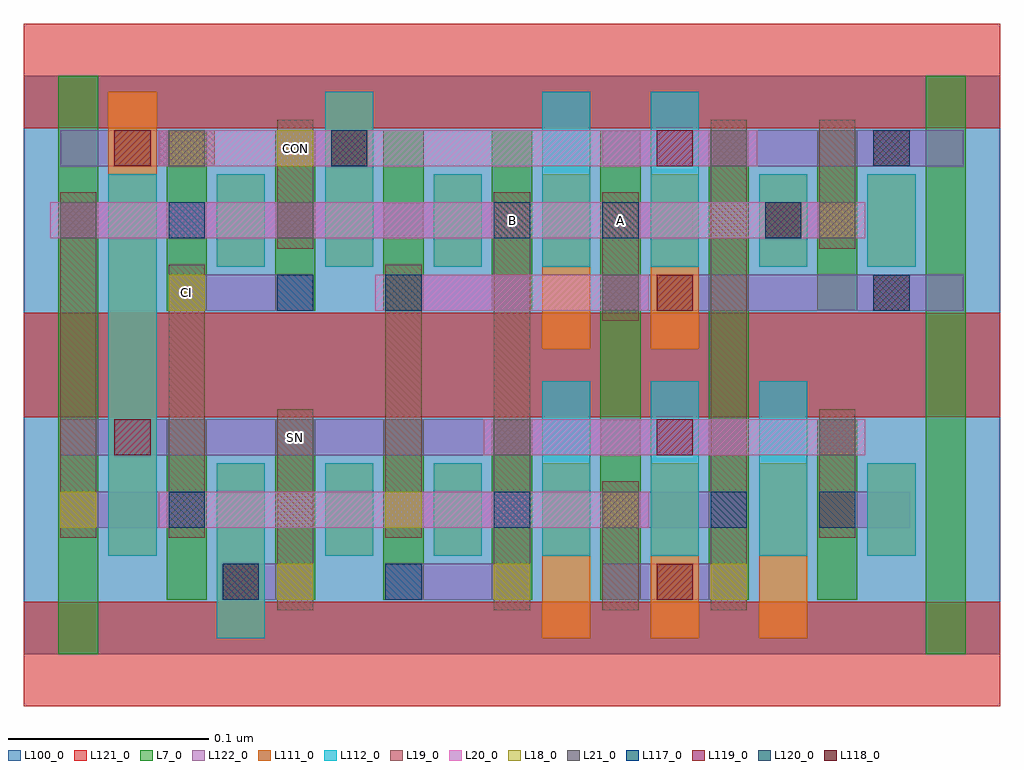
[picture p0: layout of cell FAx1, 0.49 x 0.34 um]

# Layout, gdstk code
import gdstk
lib = gdstk.Library(unit=1e-6, precision=2.5e-10)
def R(c, l, rs):  # rectangles x0, y0, x1, y1
    for r in rs: c.add(gdstk.rectangle(r[:2], r[2:], *l))
def A(c, l, x, y, w, h, nx, ny, dx, dy):  # array of equal rectangles
    R(c, l, [(x+i*dx, y+j*dy, x+i*dx+w, y+j*dy+h) for i in range(nx) for j in range(ny)])
L7_0 = (7, 0)
L18_0 = (18, 0)
L19_0 = (19, 0)
L20_0 = (20, 0)
L21_0 = (21, 0)
L100_0 = (100, 0)
L111_0 = (111, 0)
L112_0 = (112, 0)
L117_0 = (117, 0)
L118_0 = (118, 0)
L119_0 = (119, 0)
L120_0 = (120, 0)
L121_0 = (121, 0)
L122_0 = (122, 0)

fax1 = lib.new_cell('FAx1')
A(fax1, L7_0, 0.071, 0.027, 0.02, 0.09, 4, 2, 0.054, 0.144)
R(fax1, L7_0, [(0.017,0,0.037,0.144), (0.449,0,0.469,0.144), (0.287,0.027,0.307,0.144), (0.341,0.027,0.361,0.144), (0.395,0.027,0.415,0.117), (0.017,0.144,0.037,0.288), (0.287,0.144,0.307,0.261), (0.341,0.144,0.361,0.261), (0.449,0.144,0.469,0.288), (0.395,0.171,0.415,0.261)])
A(fax1, L18_0, 0.126, 0.027, 0.018, 0.018, 3, 1, 0.108, 0)
A(fax1, L18_0, 0.18, 0.063, 0.018, 0.018, 3, 1, 0.108, 0)
R(fax1, L18_0, [(0.018,0.063,0.036,0.081), (0.072,0.171,0.09,0.189), (0.18,0.171,0.198,0.189), (0.234,0.207,0.252,0.225), (0.288,0.207,0.306,0.225), (0.396,0.207,0.414,0.225), (0.072,0.243,0.09,0.261), (0.126,0.243,0.144,0.261)])
R(fax1, L19_0, [(0.126,0.022,0.144,0.122), (0.234,0.022,0.252,0.23), (0.288,0.022,0.306,0.086), (0.342,0.022,0.36,0.266), (0.018,0.058,0.036,0.23), (0.072,0.058,0.09,0.194), (0.18,0.058,0.198,0.194), (0.396,0.058,0.414,0.122), (0.288,0.166,0.306,0.23), (0.126,0.202,0.144,0.266), (0.396,0.202,0.414,0.266), (0.067,0.243,0.095,0.261)])
R(fax1, L20_0, [(0.067,0.063,0.311,0.081), (0.229,0.099,0.419,0.117), (0.175,0.171,0.311,0.189), (0.013,0.207,0.419,0.225), (0.067,0.243,0.365,0.261)])
R(fax1, L21_0, [(0.072,0.063,0.09,0.081), (0.288,0.063,0.306,0.081), (0.234,0.099,0.252,0.117), (0.396,0.099,0.414,0.117), (0.18,0.171,0.198,0.189), (0.288,0.171,0.306,0.189), (0.018,0.207,0.036,0.225), (0.126,0.207,0.144,0.225), (0.396,0.207,0.414,0.225), (0.072,0.243,0.09,0.261), (0.342,0.243,0.36,0.261)])
R(fax1, L100_0, [(0,0,0.486,0.288)])
A(fax1, L111_0, 0.258, 0.008, 0.024, 0.087, 3, 1, 0.054, 0)
R(fax1, L111_0, [(0.096,0.008,0.12,0.095), (0.042,0.049,0.066,0.144), (0.15,0.049,0.174,0.095), (0.204,0.049,0.228,0.095), (0.42,0.049,0.444,0.095), (0.042,0.144,0.066,0.28), (0.258,0.152,0.282,0.239), (0.312,0.152,0.336,0.239), (0.096,0.193,0.12,0.239), (0.15,0.193,0.174,0.28), (0.204,0.193,0.228,0.239), (0.366,0.193,0.39,0.239), (0.42,0.193,0.444,0.239)])
A(fax1, L112_0, 0.258, 0.049, 0.024, 0.087, 3, 1, 0.054, 0)
R(fax1, L112_0, [(0.096,0.008,0.12,0.095), (0.042,0.049,0.066,0.144), (0.15,0.049,0.174,0.095), (0.204,0.049,0.228,0.095), (0.42,0.049,0.444,0.095), (0.042,0.144,0.066,0.239), (0.096,0.193,0.12,0.239), (0.15,0.193,0.174,0.28), (0.204,0.193,0.228,0.239), (0.258,0.193,0.282,0.28), (0.312,0.193,0.336,0.28), (0.366,0.193,0.39,0.239), (0.42,0.193,0.444,0.239)])
R(fax1, L117_0, [(0.18,0.027,0.198,0.045), (0.072,0.063,0.09,0.081), (0.234,0.063,0.252,0.081), (0.342,0.063,0.36,0.081), (0.396,0.063,0.414,0.081), (0.126,0.171,0.144,0.189), (0.18,0.171,0.198,0.189), (0.072,0.207,0.09,0.225), (0.234,0.207,0.252,0.225), (0.288,0.207,0.306,0.225)])
R(fax1, L118_0, [(0.315,0.027,0.333,0.045), (0.315,0.171,0.333,0.189), (0.045,0.243,0.063,0.261)])
R(fax1, L119_0, [(0.099,0.027,0.117,0.045), (0.045,0.099,0.063,0.117), (0.315,0.099,0.333,0.117), (0.423,0.171,0.441,0.189), (0.369,0.207,0.387,0.225), (0.153,0.243,0.171,0.261), (0.315,0.243,0.333,0.261), (0.423,0.243,0.441,0.261)])
R(fax1, L120_0, [(0.099,0.027,0.117,0.045), (0.423,0.171,0.441,0.189), (0.369,0.207,0.387,0.225), (0.153,0.243,0.171,0.261), (0.423,0.243,0.441,0.261)])
A(fax1, L121_0, 0, -0.026, 0.486, 0.052, 1, 3, 0, 0.144)
R(fax1, L122_0, [(0.099,0.027,0.144,0.045), (0.18,0.027,0.252,0.045), (0.288,0.027,0.36,0.045), (0.018,0.063,0.09,0.081), (0.18,0.063,0.252,0.081), (0.288,0.063,0.36,0.081), (0.396,0.063,0.441,0.081), (0.018,0.099,0.36,0.117), (0.072,0.171,0.144,0.189), (0.18,0.171,0.252,0.189), (0.288,0.171,0.468,0.189), (0.018,0.207,0.252,0.225), (0.288,0.207,0.333,0.225), (0.369,0.207,0.414,0.225), (0.018,0.243,0.09,0.261), (0.126,0.243,0.171,0.261), (0.288,0.243,0.468,0.261)])
fax1.add(gdstk.Label('SN', (0.135,0.108), layer=19, texttype=251))
fax1.add(gdstk.Label('CON', (0.135,0.252), layer=19, texttype=251))
fax1.add(gdstk.Label('CI', (0.081,0.18), layer=19, texttype=251))
fax1.add(gdstk.Label('B', (0.243,0.216), layer=19, texttype=251))
fax1.add(gdstk.Label('A', (0.297,0.216), layer=19, texttype=251))

lib.write_gds('FAx1.gds')
